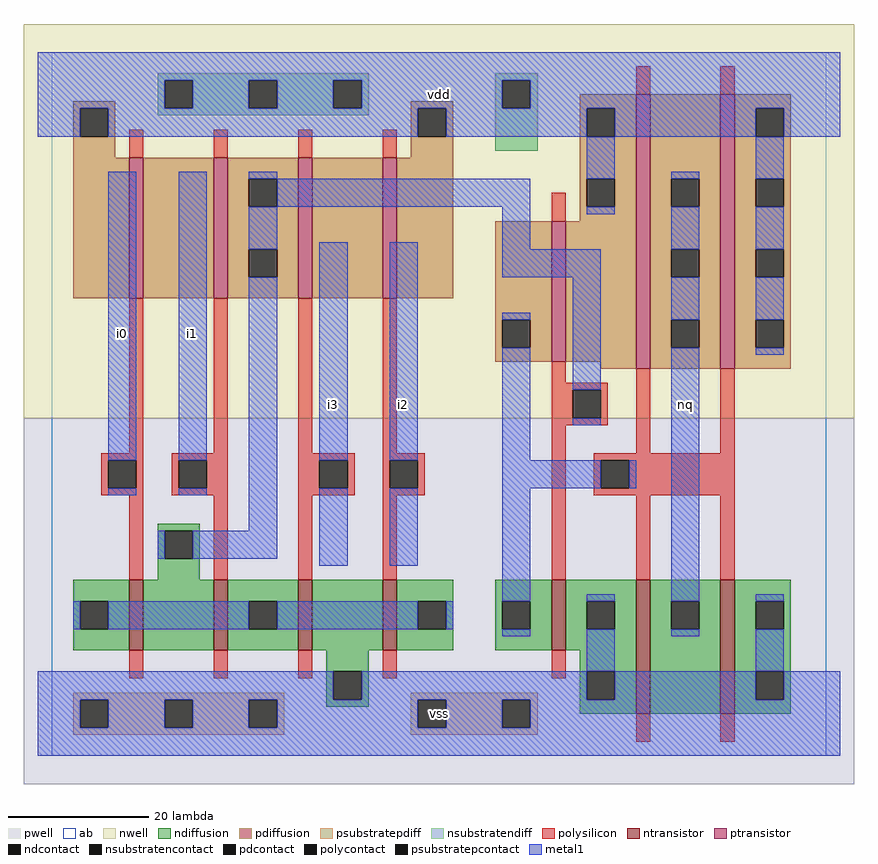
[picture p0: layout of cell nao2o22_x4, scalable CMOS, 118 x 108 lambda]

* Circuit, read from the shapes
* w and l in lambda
.subckt nao2o22_x4 i0 i1 i2 i3 nq vdd vss
M1 n1 i0 n2 vss nfet w=10 l=2
M2 n2 i1 n1 vss nfet w=10 l=2
M3 vss i3 n2 vss nfet w=10 l=2
M4 n2 i2 vss vss nfet w=10 l=2
M5 vss n1 n3 vss nfet w=10 l=2
M6 nq n3 vss vss nfet w=19 l=2 m=2
M7 n4 i0 vdd vdd pfet w=20 l=2
M8 n1 i1 n4 vdd pfet w=20 l=2
M9 n5 i3 n1 vdd pfet w=20 l=2
M10 vdd i2 n5 vdd pfet w=20 l=2
M11 vdd n1 n3 vdd pfet w=20 l=2
M12 nq n3 vdd vdd pfet w=39 l=2 m=2
.ends

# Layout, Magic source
magic
tech scmos
<< ab >>
rect 0 0 110 100
<< pwell >>
rect -4 -4 114 48
<< nwell >>
rect -4 48 114 104
<< polysilicon >>
rect 11 85 13 89
rect 23 85 25 89
rect 35 85 37 89
rect 47 85 49 89
rect 83 94 85 98
rect 95 94 97 98
rect 71 76 73 80
rect 11 43 13 65
rect 23 43 25 65
rect 7 42 13 43
rect 7 38 8 42
rect 12 38 13 42
rect 7 37 13 38
rect 17 42 25 43
rect 17 38 18 42
rect 22 38 25 42
rect 17 37 25 38
rect 11 25 13 37
rect 23 25 25 37
rect 35 43 37 65
rect 47 43 49 65
rect 71 53 73 56
rect 71 52 79 53
rect 71 48 74 52
rect 78 48 79 52
rect 71 47 79 48
rect 35 42 43 43
rect 35 38 38 42
rect 42 38 43 42
rect 35 37 43 38
rect 47 42 53 43
rect 47 38 48 42
rect 52 38 53 42
rect 47 37 53 38
rect 35 25 37 37
rect 47 25 49 37
rect 71 25 73 47
rect 83 43 85 55
rect 95 43 97 55
rect 77 42 97 43
rect 77 38 78 42
rect 82 38 97 42
rect 77 37 97 38
rect 83 25 85 37
rect 95 25 97 37
rect 11 11 13 15
rect 23 11 25 15
rect 35 11 37 15
rect 47 11 49 15
rect 71 11 73 15
rect 83 2 85 6
rect 95 2 97 6
<< ndiffusion >>
rect 15 32 21 33
rect 15 28 16 32
rect 20 28 21 32
rect 15 25 21 28
rect 3 22 11 25
rect 3 18 4 22
rect 8 18 11 22
rect 3 15 11 18
rect 13 15 23 25
rect 25 22 35 25
rect 25 18 28 22
rect 32 18 35 22
rect 25 15 35 18
rect 37 15 47 25
rect 49 22 57 25
rect 49 18 52 22
rect 56 18 57 22
rect 49 15 57 18
rect 63 22 71 25
rect 63 18 64 22
rect 68 18 71 22
rect 63 15 71 18
rect 73 22 83 25
rect 73 18 76 22
rect 80 18 83 22
rect 73 15 83 18
rect 39 12 45 15
rect 39 8 40 12
rect 44 8 45 12
rect 75 12 83 15
rect 39 7 45 8
rect 75 8 76 12
rect 80 8 83 12
rect 75 6 83 8
rect 85 22 95 25
rect 85 18 88 22
rect 92 18 95 22
rect 85 6 95 18
rect 97 22 105 25
rect 97 18 100 22
rect 104 18 105 22
rect 97 12 105 18
rect 97 8 100 12
rect 104 8 105 12
rect 97 6 105 8
<< pdiffusion >>
rect 3 92 9 93
rect 3 88 4 92
rect 8 88 9 92
rect 51 92 57 93
rect 3 85 9 88
rect 51 88 52 92
rect 56 88 57 92
rect 51 85 57 88
rect 75 92 83 94
rect 75 88 76 92
rect 80 88 83 92
rect 3 65 11 85
rect 13 65 23 85
rect 25 82 35 85
rect 25 78 28 82
rect 32 78 35 82
rect 25 72 35 78
rect 25 68 28 72
rect 32 68 35 72
rect 25 65 35 68
rect 37 65 47 85
rect 49 65 57 85
rect 75 82 83 88
rect 75 78 76 82
rect 80 78 83 82
rect 75 76 83 78
rect 63 62 71 76
rect 63 58 64 62
rect 68 58 71 62
rect 63 56 71 58
rect 73 56 83 76
rect 78 55 83 56
rect 85 82 95 94
rect 85 78 88 82
rect 92 78 95 82
rect 85 72 95 78
rect 85 68 88 72
rect 92 68 95 72
rect 85 62 95 68
rect 85 58 88 62
rect 92 58 95 62
rect 85 55 95 58
rect 97 92 105 94
rect 97 88 100 92
rect 104 88 105 92
rect 97 82 105 88
rect 97 78 100 82
rect 104 78 105 82
rect 97 72 105 78
rect 97 68 100 72
rect 104 68 105 72
rect 97 62 105 68
rect 97 58 100 62
rect 104 58 105 62
rect 97 55 105 58
<< metal1 >>
rect -2 96 112 100
rect -2 92 16 96
rect 20 92 28 96
rect 32 92 40 96
rect 44 92 64 96
rect 68 92 112 96
rect -2 88 4 92
rect 8 88 52 92
rect 56 88 76 92
rect 80 88 100 92
rect 104 88 112 92
rect 8 42 12 83
rect 8 37 12 38
rect 18 42 22 83
rect 18 37 22 38
rect 28 82 32 83
rect 76 82 80 88
rect 32 78 68 82
rect 28 72 32 78
rect 28 32 32 68
rect 15 28 16 32
rect 20 28 32 32
rect 38 42 42 73
rect 38 27 42 38
rect 48 42 52 73
rect 64 72 68 78
rect 76 77 80 78
rect 88 82 92 83
rect 88 72 92 78
rect 64 68 78 72
rect 48 27 52 38
rect 64 62 68 63
rect 64 42 68 58
rect 74 52 78 68
rect 74 47 78 48
rect 88 62 92 68
rect 64 38 78 42
rect 82 38 83 42
rect 64 22 68 38
rect 3 18 4 22
rect 8 18 28 22
rect 32 18 52 22
rect 56 18 57 22
rect 64 17 68 18
rect 76 22 80 23
rect 76 12 80 18
rect 88 22 92 58
rect 100 82 104 88
rect 100 72 104 78
rect 100 62 104 68
rect 100 57 104 58
rect 88 17 92 18
rect 100 22 104 23
rect 100 12 104 18
rect -2 8 40 12
rect 44 8 76 12
rect 80 8 100 12
rect 104 8 112 12
rect -2 4 4 8
rect 8 4 16 8
rect 20 4 28 8
rect 32 4 52 8
rect 56 4 64 8
rect 68 4 112 8
rect -2 0 112 4
<< ntransistor >>
rect 11 15 13 25
rect 23 15 25 25
rect 35 15 37 25
rect 47 15 49 25
rect 71 15 73 25
rect 83 6 85 25
rect 95 6 97 25
<< ptransistor >>
rect 11 65 13 85
rect 23 65 25 85
rect 35 65 37 85
rect 47 65 49 85
rect 71 56 73 76
rect 83 55 85 94
rect 95 55 97 94
<< polycontact >>
rect 8 38 12 42
rect 18 38 22 42
rect 74 48 78 52
rect 38 38 42 42
rect 48 38 52 42
rect 78 38 82 42
<< ndcontact >>
rect 16 28 20 32
rect 4 18 8 22
rect 28 18 32 22
rect 52 18 56 22
rect 64 18 68 22
rect 76 18 80 22
rect 40 8 44 12
rect 76 8 80 12
rect 88 18 92 22
rect 100 18 104 22
rect 100 8 104 12
<< pdcontact >>
rect 4 88 8 92
rect 52 88 56 92
rect 76 88 80 92
rect 28 78 32 82
rect 28 68 32 72
rect 76 78 80 82
rect 64 58 68 62
rect 88 78 92 82
rect 88 68 92 72
rect 88 58 92 62
rect 100 88 104 92
rect 100 78 104 82
rect 100 68 104 72
rect 100 58 104 62
<< psubstratepcontact >>
rect 4 4 8 8
rect 16 4 20 8
rect 28 4 32 8
rect 52 4 56 8
rect 64 4 68 8
<< nsubstratencontact >>
rect 16 92 20 96
rect 28 92 32 96
rect 40 92 44 96
rect 64 92 68 96
<< psubstratepdiff >>
rect 3 8 33 9
rect 3 4 4 8
rect 8 4 16 8
rect 20 4 28 8
rect 32 4 33 8
rect 51 8 69 9
rect 3 3 33 4
rect 51 4 52 8
rect 56 4 64 8
rect 68 4 69 8
rect 51 3 69 4
<< nsubstratendiff >>
rect 15 96 45 97
rect 15 92 16 96
rect 20 92 28 96
rect 32 92 40 96
rect 44 92 45 96
rect 63 96 69 97
rect 15 91 45 92
rect 63 92 64 96
rect 68 92 69 96
rect 63 86 69 92
<< labels >>
rlabel metal1 10 60 10 60 6 i0
rlabel metal1 40 50 40 50 6 i3
rlabel metal1 20 60 20 60 6 i1
rlabel psubstratepcontact 55 6 55 6 6 vss
rlabel metal1 50 50 50 50 6 i2
rlabel metal1 55 94 55 94 6 vdd
rlabel metal1 90 50 90 50 6 nq
<< end >>
